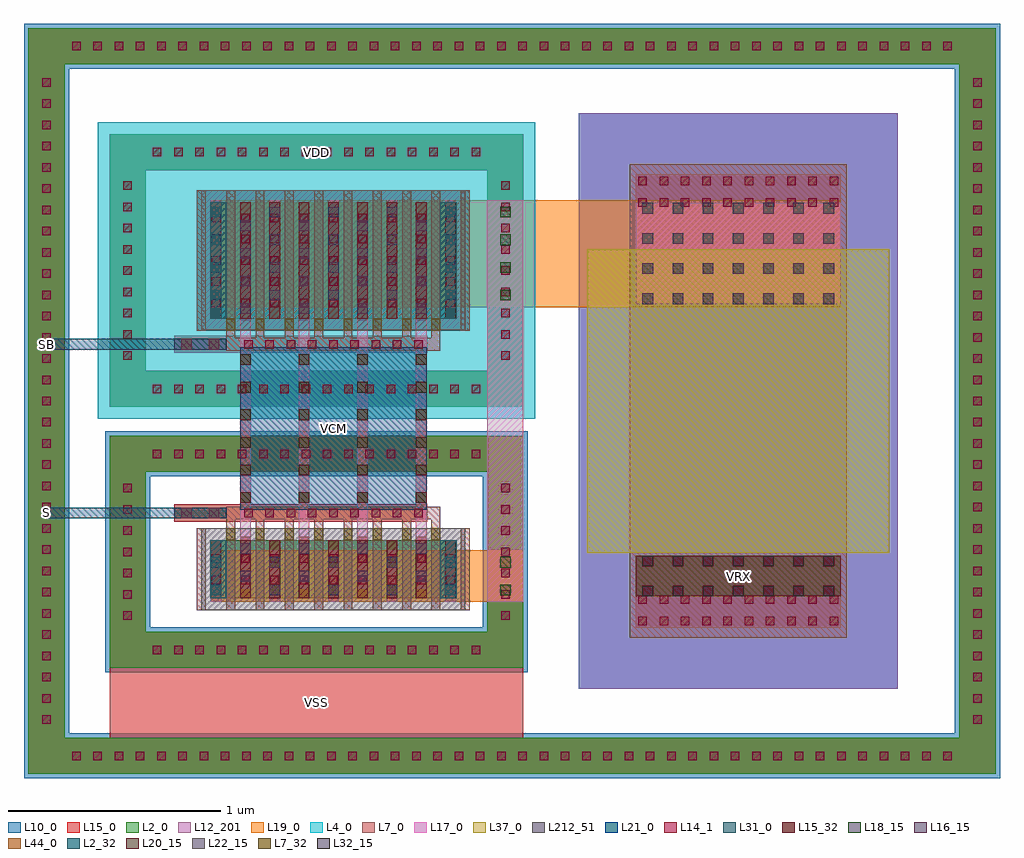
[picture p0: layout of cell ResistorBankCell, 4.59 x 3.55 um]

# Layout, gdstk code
import gdstk
lib = gdstk.Library(unit=1e-6, precision=1e-09)
def R(c, l, rs):  # rectangles x0, y0, x1, y1
    for r in rs: c.add(gdstk.rectangle(r[:2], r[2:], *l))
def A(c, l, x, y, w, h, nx, ny, dx, dy):  # array of equal rectangles
    R(c, l, [(x+i*dx, y+j*dy, x+i*dx+w, y+j*dy+h) for i in range(nx) for j in range(ny)])
L2_0 = (2, 0)
L2_32 = (2, 32)
L4_0 = (4, 0)
L7_0 = (7, 0)
L7_32 = (7, 32)
L10_0 = (10, 0)
L12_201 = (12, 201)
L14_1 = (14, 1)
L15_0 = (15, 0)
L15_32 = (15, 32)
L16_15 = (16, 15)
L17_0 = (17, 0)
L18_15 = (18, 15)
L19_0 = (19, 0)
L20_15 = (20, 15)
L21_0 = (21, 0)
L22_15 = (22, 15)
L31_0 = (31, 0)
L32_15 = (32, 15)
L37_0 = (37, 0)
L44_0 = (44, 0)
L212_51 = (212, 51)

nmosintransmissiongate = lib.new_cell('NMOSInTransmissionGate')
R(nmosintransmissiongate, L2_0, [(-0.58,-0.137,0.58,0.137)])
R(nmosintransmissiongate, L2_32, [(-0.58,-0.137,-0.504,0.137), (0.504,-0.137,0.58,0.137)])
A(nmosintransmissiongate, L7_0, -0.642, -0.194, 0.042, 0.388, 10, 1, 0.138, 0)
A(nmosintransmissiongate, L7_32, -0.504, -0.194, 0.042, 0.057, 8, 1, 0.138, 0)
A(nmosintransmissiongate, L14_1, -0.572, -0.07, 0.04, 0.04, 9, 2, 0.138, 0.1)
A(nmosintransmissiongate, L15_0, -0.577, -0.137, 0.05, 0.274, 9, 1, 0.138, 0)
A(nmosintransmissiongate, L15_32, -0.577, -0.137, 0.05, 0.274, 9, 1, 0.138, 0)
R(nmosintransmissiongate, L212_51, [(-0.621,-0.193,0.621,0.193)])

pmosintransmissiongate = lib.new_cell('PMOSInTransmissionGate')
R(pmosintransmissiongate, L2_0, [(-0.58,-0.274,0.58,0.274)])
R(pmosintransmissiongate, L2_32, [(-0.58,-0.274,-0.504,0.274), (0.504,-0.274,0.58,0.274)])
A(pmosintransmissiongate, L7_0, -0.642, -0.331, 0.042, 0.662, 10, 1, 0.138, 0)
A(pmosintransmissiongate, L7_32, -0.504, -0.331, 0.042, 0.057, 8, 1, 0.138, 0)
R(pmosintransmissiongate, L10_0, [(-0.636,-0.331,0.636,0.331)])
A(pmosintransmissiongate, L14_1, -0.572, -0.22, 0.04, 0.04, 9, 5, 0.138, 0.1)
A(pmosintransmissiongate, L15_0, -0.577, -0.274, 0.05, 0.548, 9, 1, 0.138, 0)
A(pmosintransmissiongate, L15_32, -0.577, -0.274, 0.05, 0.548, 9, 1, 0.138, 0)
R(pmosintransmissiongate, L212_51, [(-0.621,-0.33,0.621,0.33)])

viamet12met2onpmosoutput = lib.new_cell('ViaMet12Met2OnPMOSOutputInTransmissionGate')
R(viamet12met2onpmosoutput, L15_0, [(-0.025,-0.252,0.025,0.252)])
A(viamet12met2onpmosoutput, L16_15, -0.025, -0.22, 0.05, 0.05, 1, 4, 0, 0.13)
R(viamet12met2onpmosoutput, L17_0, [(-0.025,-0.252,0.025,0.252)])

viamet22met3onpmosoutput = lib.new_cell('ViaMet22Met3OnPMOSOutputInTransmissionGate')
R(viamet22met3onpmosoutput, L17_0, [(-0.025,-0.252,0.025,0.252)])
A(viamet22met3onpmosoutput, L18_15, -0.025, -0.22, 0.05, 0.05, 1, 4, 0, 0.13)
R(viamet22met3onpmosoutput, L19_0, [(-0.025,-0.252,0.025,0.252)])

viamet12met2onnmosoutput = lib.new_cell('ViaMet12Met2OnNMOSOutputInTransmissionGate')
R(viamet12met2onnmosoutput, L15_0, [(-0.025,-0.122,0.025,0.122)])
R(viamet12met2onnmosoutput, L16_15, [(-0.025,-0.09,0.025,-0.04), (-0.025,0.04,0.025,0.09)])
R(viamet12met2onnmosoutput, L17_0, [(-0.025,-0.122,0.025,0.122)])

viamet22met3onnmosoutput = lib.new_cell('ViaMet22Met3OnNMOSOutputInTransmissionGate')
R(viamet22met3onnmosoutput, L17_0, [(-0.025,-0.122,0.025,0.122)])
R(viamet22met3onnmosoutput, L18_15, [(-0.025,-0.09,0.025,-0.04), (-0.025,0.04,0.025,0.09)])
R(viamet22met3onnmosoutput, L19_0, [(-0.025,-0.122,0.025,0.122)])

viapoly2met1onpmoscontro = lib.new_cell('ViaPoly2Met1OnPMOSControlInTransmissionGate')
R(viapoly2met1onpmoscontro, L7_0, [(-0.43,-0.03,0.43,0.03)])
A(viapoly2met1onpmoscontro, L14_1, -0.42, -0.02, 0.04, 0.04, 9, 1, 0.1, 0)
R(viapoly2met1onpmoscontro, L15_0, [(-0.441,-0.041,0.441,0.041)])

viapoly2met1onnmoscontro = lib.new_cell('ViaPoly2Met1OnNMOSControlInTransmissionGate')
R(viapoly2met1onnmoscontro, L7_0, [(-0.43,-0.03,0.43,0.03)])
A(viapoly2met1onnmoscontro, L14_1, -0.42, -0.02, 0.04, 0.04, 9, 1, 0.1, 0)
R(viapoly2met1onnmoscontro, L15_0, [(-0.441,-0.041,0.441,0.041)])

transmissiongateinresist = lib.new_cell('TransmissionGateInResistorBank')
transmissiongateinresist.add(gdstk.FlexPath([(-0.483,0.379),(-0.483,0.674)], 0.042, ends="flush", simple_path=True, layer=7, datatype=0))  # L7_0
transmissiongateinresist.add(gdstk.FlexPath([(-0.345,0.379),(-0.345,0.674)], 0.042, ends="flush", simple_path=True, layer=7, datatype=0))  # L7_0
transmissiongateinresist.add(gdstk.FlexPath([(-0.207,0.379),(-0.207,0.674)], 0.042, ends="flush", simple_path=True, layer=7, datatype=0))  # L7_0
transmissiongateinresist.add(gdstk.FlexPath([(-0.069,0.379),(-0.069,0.674)], 0.042, ends="flush", simple_path=True, layer=7, datatype=0))  # L7_0
transmissiongateinresist.add(gdstk.FlexPath([(0.069,0.379),(0.069,0.674)], 0.042, ends="flush", simple_path=True, layer=7, datatype=0))  # L7_0
transmissiongateinresist.add(gdstk.FlexPath([(0.207,0.379),(0.207,0.674)], 0.042, ends="flush", simple_path=True, layer=7, datatype=0))  # L7_0
transmissiongateinresist.add(gdstk.FlexPath([(0.345,0.379),(0.345,0.674)], 0.042, ends="flush", simple_path=True, layer=7, datatype=0))  # L7_0
transmissiongateinresist.add(gdstk.FlexPath([(0.483,0.379),(0.483,0.674)], 0.042, ends="flush", simple_path=True, layer=7, datatype=0))  # L7_0
transmissiongateinresist.add(gdstk.FlexPath([(-0.483,1.833),(-0.483,1.408)], 0.042, ends="flush", simple_path=True, layer=7, datatype=0))  # L7_0
transmissiongateinresist.add(gdstk.FlexPath([(-0.345,1.833),(-0.345,1.408)], 0.042, ends="flush", simple_path=True, layer=7, datatype=0))  # L7_0
transmissiongateinresist.add(gdstk.FlexPath([(-0.207,1.833),(-0.207,1.408)], 0.042, ends="flush", simple_path=True, layer=7, datatype=0))  # L7_0
transmissiongateinresist.add(gdstk.FlexPath([(-0.069,1.833),(-0.069,1.408)], 0.042, ends="flush", simple_path=True, layer=7, datatype=0))  # L7_0
transmissiongateinresist.add(gdstk.FlexPath([(0.069,1.833),(0.069,1.408)], 0.042, ends="flush", simple_path=True, layer=7, datatype=0))  # L7_0
transmissiongateinresist.add(gdstk.FlexPath([(0.207,1.833),(0.207,1.408)], 0.042, ends="flush", simple_path=True, layer=7, datatype=0))  # L7_0
transmissiongateinresist.add(gdstk.FlexPath([(0.345,1.833),(0.345,1.408)], 0.042, ends="flush", simple_path=True, layer=7, datatype=0))  # L7_0
transmissiongateinresist.add(gdstk.FlexPath([(0.483,1.833),(0.483,1.408)], 0.042, ends="flush", simple_path=True, layer=7, datatype=0))  # L7_0
transmissiongateinresist.add(gdstk.FlexPath([(-0.483,0.644),(0.483,0.644)], 0.06, ends="flush", simple_path=True, layer=7, datatype=0))  # L7_0
transmissiongateinresist.add(gdstk.FlexPath([(-0.483,1.438),(0.483,1.438)], 0.06, ends="flush", simple_path=True, layer=7, datatype=0))  # L7_0
transmissiongateinresist.add(gdstk.Reference(nmosintransmissiongate, (0,0.379), x_reflection=True))
transmissiongateinresist.add(gdstk.Reference(pmosintransmissiongate, (0,1.833)))
transmissiongateinresist.add(gdstk.Reference(viamet12met2onpmosoutput, (-0.414,1.801)))
transmissiongateinresist.add(gdstk.Reference(viamet12met2onpmosoutput, (-0.138,1.801)))
transmissiongateinresist.add(gdstk.Reference(viamet12met2onpmosoutput, (0.138,1.801)))
transmissiongateinresist.add(gdstk.Reference(viamet12met2onpmosoutput, (0.414,1.801)))
transmissiongateinresist.add(gdstk.Reference(viamet12met2onpmosoutput, (-0.552,1.865)))
transmissiongateinresist.add(gdstk.Reference(viamet12met2onpmosoutput, (-0.276,1.865)))
transmissiongateinresist.add(gdstk.Reference(viamet12met2onpmosoutput, (0,1.865)))
transmissiongateinresist.add(gdstk.Reference(viamet12met2onpmosoutput, (0.276,1.865)))
transmissiongateinresist.add(gdstk.Reference(viamet12met2onpmosoutput, (0.552,1.865)))
transmissiongateinresist.add(gdstk.Reference(viamet22met3onpmosoutput, (-0.552,1.865)))
transmissiongateinresist.add(gdstk.Reference(viamet22met3onpmosoutput, (-0.276,1.865)))
transmissiongateinresist.add(gdstk.Reference(viamet22met3onpmosoutput, (0,1.865)))
transmissiongateinresist.add(gdstk.Reference(viamet22met3onpmosoutput, (0.276,1.865)))
transmissiongateinresist.add(gdstk.Reference(viamet22met3onpmosoutput, (0.552,1.865)))
transmissiongateinresist.add(gdstk.Reference(viamet12met2onnmosoutput, (-0.414,0.411)))
transmissiongateinresist.add(gdstk.Reference(viamet12met2onnmosoutput, (-0.138,0.411)))
transmissiongateinresist.add(gdstk.Reference(viamet12met2onnmosoutput, (0.138,0.411)))
transmissiongateinresist.add(gdstk.Reference(viamet12met2onnmosoutput, (0.414,0.411)))
transmissiongateinresist.add(gdstk.Reference(viamet12met2onnmosoutput, (-0.552,0.347)))
transmissiongateinresist.add(gdstk.Reference(viamet12met2onnmosoutput, (-0.276,0.347)))
transmissiongateinresist.add(gdstk.Reference(viamet12met2onnmosoutput, (0,0.347)))
transmissiongateinresist.add(gdstk.Reference(viamet12met2onnmosoutput, (0.276,0.347)))
transmissiongateinresist.add(gdstk.Reference(viamet12met2onnmosoutput, (0.552,0.347)))
transmissiongateinresist.add(gdstk.Reference(viamet22met3onnmosoutput, (-0.552,0.347)))
transmissiongateinresist.add(gdstk.Reference(viamet22met3onnmosoutput, (-0.276,0.347)))
transmissiongateinresist.add(gdstk.Reference(viamet22met3onnmosoutput, (0,0.347)))
transmissiongateinresist.add(gdstk.Reference(viamet22met3onnmosoutput, (0.276,0.347)))
transmissiongateinresist.add(gdstk.Reference(viamet22met3onnmosoutput, (0.552,0.347)))
transmissiongateinresist.add(gdstk.Reference(viapoly2met1onpmoscontro, (0,1.438)))
transmissiongateinresist.add(gdstk.Reference(viapoly2met1onnmoscontro, (0,0.644)))

viamet12met2oninputinres = lib.new_cell('ViaMet12Met2OnInputInResistorBank')
R(viamet12met2oninputinres, L15_0, [(-0.122,-0.025,0.122,0.025)])
R(viamet12met2oninputinres, L16_15, [(-0.09,-0.025,-0.04,0.025), (0.04,-0.025,0.09,0.025)])
R(viamet12met2oninputinres, L17_0, [(-0.122,-0.025,0.122,0.025)])

viamet22met3oninputinres = lib.new_cell('ViaMet22Met3OnInputInResistorBank')
R(viamet22met3oninputinres, L17_0, [(-0.122,-0.025,0.122,0.025)])
R(viamet22met3oninputinres, L18_15, [(-0.09,-0.025,-0.04,0.025), (0.04,-0.025,0.09,0.025)])
R(viamet22met3oninputinres, L19_0, [(-0.122,-0.025,0.122,0.025)])

viamet32met4oninputinres = lib.new_cell('ViaMet32Met4OnInputInResistorBank')
R(viamet32met4oninputinres, L19_0, [(-0.122,-0.025,0.122,0.025)])
R(viamet32met4oninputinres, L20_15, [(-0.09,-0.025,-0.04,0.025), (0.04,-0.025,0.09,0.025)])
R(viamet32met4oninputinres, L21_0, [(-0.122,-0.025,0.122,0.025)])

viamet42met5oninputinres = lib.new_cell('ViaMet42Met5OnInputInResistorBank')
R(viamet42met5oninputinres, L21_0, [(-0.122,-0.025,0.122,0.025)])
R(viamet42met5oninputinres, L22_15, [(-0.09,-0.025,-0.04,0.025), (0.04,-0.025,0.09,0.025)])
R(viamet42met5oninputinres, L31_0, [(-0.122,-0.025,0.122,0.025)])

opppcresinresistorbank = lib.new_cell('OpppcresInResistorBank')
R(opppcresinresistorbank, L7_0, [(-0.51,-1.115,0.51,1.115)])
R(opppcresinresistorbank, L10_0, [(-0.75,-1.355,0.75,1.355)])
R(opppcresinresistorbank, L12_201, [(-0.75,-1.355,0.75,1.355)])
A(opppcresinresistorbank, L14_1, -0.47, -1.055, 0.04, 0.04, 10, 2, 0.1, 0.1)
A(opppcresinresistorbank, L14_1, -0.47, 0.915, 0.04, 0.04, 10, 2, 0.1, 0.1)
R(opppcresinresistorbank, L15_0, [(-0.482,-1.067,0.482,-0.903), (-0.482,0.903,0.482,1.067)])
R(opppcresinresistorbank, L37_0, [(-0.71,-0.715,0.71,0.715)])

pmossubringinresistorban = lib.new_cell('PMOSSubringInResistorBank')
R(pmossubringinresistorban, L2_0, [(-0.974,-0.642,0.974,-0.472), (-0.974,-0.642,-0.804,0.642), (0.804,-0.642,0.974,0.642), (-0.974,0.472,0.974,0.642)])
A(pmossubringinresistorban, L14_1, -0.77, -0.577, 0.04, 0.04, 16, 2, 0.1, 1.114)
A(pmossubringinresistorban, L14_1, -0.909, -0.42, 0.04, 0.04, 1, 9, 0, 0.1)
A(pmossubringinresistorban, L14_1, 0.869, -0.42, 0.04, 0.04, 1, 9, 0, 0.1)
R(pmossubringinresistorban, L15_0, [(-0.974,-0.642,0.974,-0.472), (-0.974,-0.642,-0.804,0.642), (0.804,-0.642,0.974,0.642), (-0.974,0.472,0.974,0.642)])
pmossubringinresistorban.add(gdstk.FlexPath([(0.889,0.698),(0.889,-0.557),(-0.889,-0.557),(-0.889,0.557),(1.03,0.557)], 0.282, ends="flush", simple_path=True, layer=4, datatype=0))  # L4_0

nmossubringinresistorban = lib.new_cell('NMOSSubringInResistorBank')
R(nmossubringinresistorban, L2_0, [(-0.974,-0.546,0.974,-0.376), (-0.974,-0.546,-0.804,0.546), (0.804,-0.546,0.974,0.546), (-0.974,0.376,0.974,0.546)])
A(nmossubringinresistorban, L14_1, -0.77, -0.481, 0.04, 0.04, 16, 2, 0.1, 0.922)
A(nmossubringinresistorban, L14_1, -0.909, -0.32, 0.04, 0.04, 1, 7, 0, 0.1)
A(nmossubringinresistorban, L14_1, 0.869, -0.32, 0.04, 0.04, 1, 7, 0, 0.1)
R(nmossubringinresistorban, L15_0, [(-0.974,-0.546,0.974,-0.376), (-0.974,-0.546,-0.804,0.546), (0.804,-0.546,0.974,0.546), (-0.974,0.376,0.974,0.546)])
nmossubringinresistorban.add(gdstk.FlexPath([(0.889,0.567),(0.889,-0.461),(-0.889,-0.461),(-0.889,0.461),(0.995,0.461)], 0.212, ends="flush", simple_path=True, layer=10, datatype=0))  # L10_0

totalsubringinresistorba = lib.new_cell('TotalSubringInResistorBank')
R(totalsubringinresistorba, L2_0, [(-2.276,-1.755,2.276,-1.585), (-2.276,-1.755,-2.106,1.755), (2.106,-1.755,2.276,1.755), (-2.276,1.585,2.276,1.755)])
A(totalsubringinresistorba, L14_1, -2.07, -1.69, 0.04, 0.04, 42, 2, 0.1, 3.34)
A(totalsubringinresistorba, L14_1, -2.211, -1.52, 0.04, 0.04, 1, 31, 0, 0.1)
A(totalsubringinresistorba, L14_1, 2.171, -1.52, 0.04, 0.04, 1, 31, 0, 0.1)
R(totalsubringinresistorba, L15_0, [(-2.276,-1.755,2.276,-1.585), (-2.276,-1.755,-2.106,1.755), (2.106,-1.755,2.276,1.755), (-2.276,1.585,2.276,1.755)])
totalsubringinresistorba.add(gdstk.FlexPath([(2.191,1.776),(2.191,-1.67),(-2.191,-1.67),(-2.191,1.67),(2.297,1.67)], 0.212, ends="flush", simple_path=True, layer=10, datatype=0))  # L10_0

viamet12met2onresistorin = lib.new_cell('ViaMet12Met2OnResistorInResistorBank')
R(viamet12met2onresistorin, L15_0, [(-0.483,-0.238,0.483,0.238)])
A(viamet12met2onresistorin, L16_15, -0.451, -0.238, 0.05, 0.05, 7, 4, 0.142, 0.142)
R(viamet12met2onresistorin, L17_0, [(-0.483,-0.238,0.483,0.238)])

viamet12met2onresistor1i = lib.new_cell('ViaMet12Met2OnResistor1InResistorBank')
R(viamet12met2onresistor1i, L15_0, [(-0.483,-0.096,0.483,0.096)])
A(viamet12met2onresistor1i, L16_15, -0.451, -0.096, 0.05, 0.05, 7, 2, 0.142, 0.142)
R(viamet12met2onresistor1i, L17_0, [(-0.483,-0.096,0.483,0.096)])

viamet22met3onresistorin = lib.new_cell('ViaMet22Met3OnResistorInResistorBank')
R(viamet22met3onresistorin, L17_0, [(-0.483,-0.238,0.483,0.238)])
A(viamet22met3onresistorin, L18_15, -0.451, -0.238, 0.05, 0.05, 7, 4, 0.142, 0.142)
R(viamet22met3onresistorin, L19_0, [(-0.483,-0.238,0.483,0.238)])

viamet22met3onresistor1i = lib.new_cell('ViaMet22Met3OnResistor1InResistorBank')
R(viamet22met3onresistor1i, L17_0, [(-0.483,-0.096,0.483,0.096)])
A(viamet22met3onresistor1i, L18_15, -0.451, -0.096, 0.05, 0.05, 7, 2, 0.142, 0.142)
R(viamet22met3onresistor1i, L19_0, [(-0.483,-0.096,0.483,0.096)])

viamet32met4onresistorin = lib.new_cell('ViaMet32Met4OnResistorInResistorBank')
R(viamet32met4onresistorin, L19_0, [(-0.483,-0.096,0.483,0.096)])
A(viamet32met4onresistorin, L20_15, -0.451, -0.096, 0.05, 0.05, 7, 2, 0.142, 0.142)
R(viamet32met4onresistorin, L21_0, [(-0.483,-0.096,0.483,0.096)])

viamet42met5onresistorin = lib.new_cell('ViaMet42Met5OnResistorInResistorBank')
R(viamet42met5onresistorin, L21_0, [(-0.483,-0.096,0.483,0.096)])
A(viamet42met5onresistorin, L22_15, -0.451, -0.096, 0.05, 0.05, 7, 2, 0.142, 0.142)
R(viamet42met5onresistorin, L31_0, [(-0.483,-0.096,0.483,0.096)])

viamet52met6onresistorin = lib.new_cell('ViaMet52Met6OnResistorInResistorBank')
R(viamet52met6onresistorin, L31_0, [(-0.483,-0.096,0.483,0.096)])
A(viamet52met6onresistorin, L32_15, -0.451, -0.096, 0.05, 0.05, 7, 2, 0.142, 0.142)
R(viamet52met6onresistorin, L44_0, [(-0.483,-0.096,0.483,0.096)])

viavcmmet22met3inresisto = lib.new_cell('ViaVCMMet22Met3InResistorBank')
R(viavcmmet22met3inresisto, L17_0, [(-0.025,-0.382,0.025,0.382)])
A(viavcmmet22met3inresisto, L18_15, -0.025, -0.35, 0.05, 0.05, 1, 6, 0, 0.13)
R(viavcmmet22met3inresisto, L19_0, [(-0.025,-0.382,0.025,0.382)])

viavcmmet32met4inresisto = lib.new_cell('ViaVCMMet32Met4InResistorBank')
R(viavcmmet32met4inresisto, L19_0, [(-0.025,-0.382,0.025,0.382)])
A(viavcmmet32met4inresisto, L20_15, -0.025, -0.35, 0.05, 0.05, 1, 6, 0, 0.13)
R(viavcmmet32met4inresisto, L21_0, [(-0.025,-0.382,0.025,0.382)])

viatgpmos2resmet22met3in = lib.new_cell('ViaTGPMOS2ResMet22Met3InResistorBank')
R(viatgpmos2resmet22met3in, L17_0, [(-0.057,-0.22,0.057,0.22)])
A(viatgpmos2resmet22met3in, L18_15, -0.025, -0.22, 0.05, 0.05, 1, 4, 0, 0.13)
R(viatgpmos2resmet22met3in, L19_0, [(-0.057,-0.22,0.057,0.22)])

viatgnmos2resmet22met3in = lib.new_cell('ViaTGNMOS2ResMet22Met3InResistorBank')
R(viatgnmos2resmet22met3in, L17_0, [(-0.057,-0.09,0.057,0.09)])
R(viatgnmos2resmet22met3in, L18_15, [(-0.025,-0.09,0.025,-0.04), (-0.025,0.04,0.025,0.09)])
R(viatgnmos2resmet22met3in, L19_0, [(-0.057,-0.09,0.057,0.09)])

resistorbankcell = lib.new_cell('ResistorBankCell')
R(resistorbankcell, L15_0, [(-1.053,-0.584,0.895,0.084)])
A(resistorbankcell, L17_0, -0.439, 0.289, 0.05, 1.764, 4, 1, 0.276, 0)
R(resistorbankcell, L21_0, [(-0.414,0.659,0.414,1.423)])
resistorbankcell.add(gdstk.FlexPath([(-0.627,1.438),(-1.35,1.438)], 0.05, ends="flush", simple_path=True, layer=31, datatype=0))  # L31_0
resistorbankcell.add(gdstk.FlexPath([(-0.627,0.644),(-1.35,0.644)], 0.05, ends="flush", simple_path=True, layer=31, datatype=0))  # L31_0
resistorbankcell.add(gdstk.FlexPath([(-0.883,1.785),(0.725,1.785)], 0.943, ends="flush", simple_path=True, layer=4, datatype=0))  # L4_0
resistorbankcell.add(gdstk.FlexPath([(-0.749,1.438),(0,1.438)], 0.082, ends="flush", simple_path=True, layer=15, datatype=0))  # L15_0
resistorbankcell.add(gdstk.FlexPath([(-0.749,0.644),(0,0.644)], 0.082, ends="flush", simple_path=True, layer=15, datatype=0))  # L15_0
resistorbankcell.add(gdstk.FlexPath([(1.906,1.627),(1.906,2.238)], 0.966, ends="flush", simple_path=True, layer=15, datatype=0))  # L15_0
resistorbankcell.add(gdstk.FlexPath([(1.906,0.443),(1.906,0.104)], 0.966, ends="flush", simple_path=True, layer=15, datatype=0))  # L15_0
resistorbankcell.add(gdstk.FlexPath([(-0.552,1.865),(2.389,1.865)], 0.504, ends="flush", simple_path=True, layer=19, datatype=0))  # L19_0
resistorbankcell.add(gdstk.FlexPath([(-0.552,0.347),(0.895,0.347)], 0.244, ends="flush", simple_path=True, layer=19, datatype=0))  # L19_0
resistorbankcell.add(gdstk.FlexPath([(0.81,2.117),(0.81,0.225)], 0.17, ends="flush", simple_path=True, layer=17, datatype=0))  # L17_0
resistorbankcell.add(gdstk.Reference(transmissiongateinresist, (0,0)))
resistorbankcell.add(gdstk.Reference(viamet12met2oninputinres, (-0.627,1.438)))
resistorbankcell.add(gdstk.Reference(viamet12met2oninputinres, (-0.627,0.644)))
resistorbankcell.add(gdstk.Reference(viamet22met3oninputinres, (-0.627,1.438)))
resistorbankcell.add(gdstk.Reference(viamet22met3oninputinres, (-0.627,0.644)))
resistorbankcell.add(gdstk.Reference(viamet32met4oninputinres, (-0.627,1.438)))
resistorbankcell.add(gdstk.Reference(viamet32met4oninputinres, (-0.627,0.644)))
resistorbankcell.add(gdstk.Reference(viamet42met5oninputinres, (-0.627,1.438)))
resistorbankcell.add(gdstk.Reference(viamet42met5oninputinres, (-0.627,0.644)))
resistorbankcell.add(gdstk.Reference(opppcresinresistorbank, (1.906,1.171)))
resistorbankcell.add(gdstk.Reference(pmossubringinresistorban, (-0.079,1.785)))
resistorbankcell.add(gdstk.Reference(nmossubringinresistorban, (-0.079,0.461)))
resistorbankcell.add(gdstk.Reference(totalsubringinresistorba, (0.841,1.171)))
resistorbankcell.add(gdstk.Reference(viamet12met2onresistorin, (1.906,1.865)))
resistorbankcell.add(gdstk.Reference(viamet12met2onresistor1i, (1.906,0.347)))
resistorbankcell.add(gdstk.Reference(viamet22met3onresistorin, (1.906,1.865)))
resistorbankcell.add(gdstk.Reference(viamet22met3onresistor1i, (1.906,0.347)))
resistorbankcell.add(gdstk.Reference(viamet32met4onresistorin, (1.906,0.347)))
resistorbankcell.add(gdstk.Reference(viamet42met5onresistorin, (1.906,0.347)))
resistorbankcell.add(gdstk.Reference(viamet52met6onresistorin, (1.906,0.347)))
resistorbankcell.add(gdstk.Reference(viavcmmet22met3inresisto, (-0.414,1.041)))
resistorbankcell.add(gdstk.Reference(viavcmmet22met3inresisto, (-0.138,1.041)))
resistorbankcell.add(gdstk.Reference(viavcmmet22met3inresisto, (0.138,1.041)))
resistorbankcell.add(gdstk.Reference(viavcmmet22met3inresisto, (0.414,1.041)))
resistorbankcell.add(gdstk.Reference(viavcmmet32met4inresisto, (-0.414,1.041)))
resistorbankcell.add(gdstk.Reference(viavcmmet32met4inresisto, (-0.138,1.041)))
resistorbankcell.add(gdstk.Reference(viavcmmet32met4inresisto, (0.138,1.041)))
resistorbankcell.add(gdstk.Reference(viavcmmet32met4inresisto, (0.414,1.041)))
resistorbankcell.add(gdstk.Reference(viatgpmos2resmet22met3in, (0.81,1.865)))
resistorbankcell.add(gdstk.Reference(viatgnmos2resmet22met3in, (0.81,0.347)))
resistorbankcell.add(gdstk.Label('VDD', (-0.079,2.342), layer=15, texttype=20))
resistorbankcell.add(gdstk.Label('VSS', (-0.079,-0.25), layer=15, texttype=20))
resistorbankcell.add(gdstk.Label('S', (-1.35,0.644), layer=31, texttype=20))
resistorbankcell.add(gdstk.Label('SB', (-1.35,1.438), layer=31, texttype=20))
resistorbankcell.add(gdstk.Label('VRX', (1.906,0.347), layer=44, texttype=20))
resistorbankcell.add(gdstk.Label('VCM', (0,1.041), layer=21, texttype=20))

lib.write_gds('ResistorBankCell.gds')
